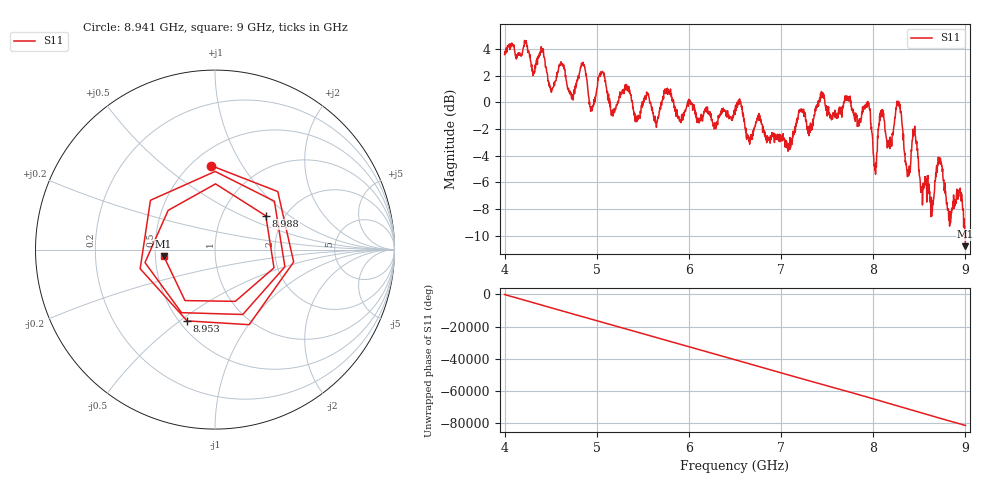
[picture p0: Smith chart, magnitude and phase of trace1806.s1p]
! Created with skrf 1.8.0 (http://scikit-rf.org).
# Hz S RI R 50.0
!freq ReS11 ImS11
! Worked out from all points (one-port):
!   1601 points, 4 GHz to 9 GHz, reference 50 ohm
!   lowest |S11| = -10.8 dB at 9 GHz (marker M1), VSWR 1.81, Z = 27.7 - j2.14 ohm
!   |S11| at or under -10 dB: 8.993412 GHz to 8.994992 GHz (1.58 MHz wide, 0.0176 % of centre); 8.997933 GHz to end of sweep
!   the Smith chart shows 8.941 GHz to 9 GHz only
!   S11 on the Smith chart (normalised r, x): 8.941 GHz: 0.62, +0.74; 8.953 GHz: 0.55, -0.53; 8.988 GHz: 1.61, +0.69; 9 GHz: 0.55, -0.04
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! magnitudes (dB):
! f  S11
! 4 GHz  3.6
! 4.409 GHz  3.8
! 4.506 GHz  0.8
! 4.625 GHz  2.8
! 4.725 GHz  0.3
! 4.853 GHz  2.8
! 4.941 GHz  -0.5
! 5.05 GHz  2.2
! 5.169 GHz  -0.8
! 5.25 GHz  0.8
! 5.875 GHz  -1.1
! 6.5 GHz  -0.9
! 7.125 GHz  -2.6
! 7.75 GHz  0.5
! 7.944 GHz  -0.1
! 8.019 GHz  -5.1
! 8.084 GHz  -0.8
! 8.178 GHz  -3.4
! 8.278 GHz  0.0
! 8.375 GHz  -5.3
! 8.447 GHz  -2.1
! 8.631 GHz  -7.1
! 8.722 GHz  -4.3
! 8.825 GHz  -8.5
! 8.941 GHz  -6.6
! 8.953 GHz  -7.4
! 8.988 GHz  -9.4
! 9 GHz  -10.8
